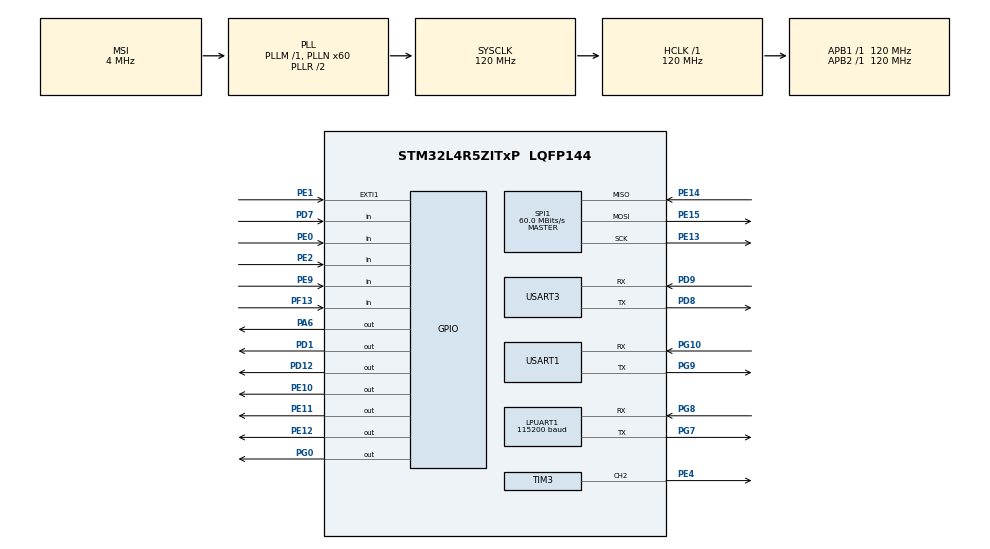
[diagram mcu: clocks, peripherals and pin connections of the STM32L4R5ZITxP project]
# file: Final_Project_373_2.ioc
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Dma.Request0=USART1_RX
Dma.Request1=TIM3_CH2
Dma.TIM3_CH2.1.Direction=DMA_MEMORY_TO_PERIPH
Dma.TIM3_CH2.1.EventEnable=DISABLE
Dma.TIM3_CH2.1.Instance=DMA1_Channel2
Dma.TIM3_CH2.1.MemDataAlignment=DMA_MDATAALIGN_WORD
Dma.TIM3_CH2.1.MemInc=DMA_MINC_ENABLE
Dma.TIM3_CH2.1.Mode=DMA_NORMAL
Dma.TIM3_CH2.1.PeriphDataAlignment=DMA_PDATAALIGN_WORD
Dma.TIM3_CH2.1.PeriphInc=DMA_PINC_DISABLE
Dma.TIM3_CH2.1.Polarity=HAL_DMAMUX_REQUEST_GEN_RISING
Dma.TIM3_CH2.1.Priority=DMA_PRIORITY_VERY_HIGH
Dma.TIM3_CH2.1.RequestNumber=1
Dma.TIM3_CH2.1.SignalID=NONE
Dma.TIM3_CH2.1.SyncEnable=DISABLE
Dma.TIM3_CH2.1.SyncPolarity=HAL_DMAMUX_SYNC_NO_EVENT
Dma.TIM3_CH2.1.SyncRequestNumber=1
Dma.TIM3_CH2.1.SyncSignalID=NONE
Dma.USART1_RX.0.Direction=DMA_PERIPH_TO_MEMORY
Dma.USART1_RX.0.EventEnable=DISABLE
Dma.USART1_RX.0.Instance=DMA1_Channel1
Dma.USART1_RX.0.MemDataAlignment=DMA_MDATAALIGN_BYTE
Dma.USART1_RX.0.MemInc=DMA_MINC_ENABLE
Dma.USART1_RX.0.Mode=DMA_NORMAL
Dma.USART1_RX.0.PeriphDataAlignment=DMA_PDATAALIGN_BYTE
Dma.USART1_RX.0.PeriphInc=DMA_PINC_DISABLE
Dma.USART1_RX.0.Polarity=HAL_DMAMUX_REQUEST_GEN_RISING
Dma.USART1_RX.0.Priority=DMA_PRIORITY_HIGH
Dma.USART1_RX.0.RequestNumber=1
Dma.USART1_RX.0.SignalID=NONE
Dma.USART1_RX.0.SyncEnable=DISABLE
Dma.USART1_RX.0.SyncPolarity=HAL_DMAMUX_SYNC_NO_EVENT
Dma.USART1_RX.0.SyncRequestNumber=1
Dma.USART1_RX.0.SyncSignalID=NONE
LPUART1.BaudRate=115200
LPUART1.WordLength=UART_WORDLENGTH_8B
Mcu.Family=STM32L4
Mcu.Name=STM32L4R5ZITxP
Mcu.Package=LQFP144
NVIC.DMA1_Channel1_IRQn=true\:0\:0\:false\:false\:true\:false\:true\:true
NVIC.DMA1_Channel2_IRQn=true\:0\:0\:false\:false\:true\:false\:true\:true
NVIC.EXTI1_IRQn=true\:0\:0\:false\:false\:true\:true\:true\:true
NVIC.PriorityGroup=NVIC_PRIORITYGROUP_4
NVIC.TIM1_UP_TIM16_IRQn=true\:0\:0\:false\:false\:true\:true\:true\:true
NVIC.TIM2_IRQn=true\:0\:0\:false\:false\:true\:true\:true\:true
NVIC.TIM4_IRQn=true\:0\:0\:false\:false\:true\:true\:true\:true
NVIC.TIM5_IRQn=true\:0\:0\:false\:false\:true\:true\:true\:true
NVIC.TIM8_UP_IRQn=true\:0\:0\:false\:false\:true\:true\:true\:true
NVIC.USART1_IRQn=true\:0\:0\:true\:false\:true\:true\:true\:true
PA0.Signal=S_TIM2_CH1
PA1.Signal=ADCx_IN6
PA10.Signal=USB_OTG_FS_ID
PA13\ (JTMS/SWDIO).Signal=SYS_JTMS-SWDIO
PA14\ (JTCK/SWCLK).Signal=SYS_JTCK-SWCLK
PA3.Signal=ADCx_IN8
PA6.Signal=GPIO_Output
PA8.Signal=USB_OTG_FS_SOF
PA9.Signal=USB_OTG_FS_VBUS
PB1.Signal=ADCx_IN16
PB10.Signal=S_TIM2_CH3
PB12.Signal=SAI2_FS_A
PB13.Signal=SAI2_SCK_A
PB14.Signal=S_TIM15_CH1
PB15.Signal=SAI2_SD_A
PB2.Signal=COMP1_INP
PB3\ (JTDO/TRACESWO).Signal=SPI3_SCK
PB4\ (NJTRST).Signal=SPI3_MISO
PB5.Signal=SPI3_MOSI
PB6.Signal=COMP2_INP
PB8.Signal=I2C1_SCL
PB9.Signal=I2C1_SDA
PC0.Signal=ADCx_IN1
PC1.Signal=ADCx_IN2
PC10.Signal=SDMMC1_D2
PC11.Signal=SDMMC1_D3
PC12.Signal=SDMMC1_CK
PC13.Signal=SYS_WKUP2
PC14-OSC32_IN\ (PC14).Signal=RCC_OSC32_IN
PC15-OSC32_OUT\ (PC15).Signal=RCC_OSC32_OUT
PC2.Signal=ADCx_IN3
PC3.Signal=ADCx_IN4
PC4.Signal=ADCx_IN13
PC5.Signal=ADCx_IN14
PC6.Signal=SAI2_MCLK_A
PC8.Signal=SDMMC1_D0
PC9.Signal=SDMMC1_D1
PD0.Signal=CAN1_RX
PD1.Signal=GPIO_Output
PD12.Signal=GPIO_Output
PD14.Signal=S_TIM4_CH3
PD15.Signal=S_TIM4_CH4
PD2.Signal=SDMMC1_CMD
PD3.Signal=USART2_CTS
PD4.Signal=USART2_RTS
PD5.Signal=USART2_TX
PD6.Signal=USART2_RX
PD7.GPIO_PuPd=GPIO_PULLUP
PD7.Signal=GPIO_Input
PD8.Mode=Asynchronous
PD8.Signal=USART3_TX
PD9.Mode=Asynchronous
PD9.Signal=USART3_RX
PE0.GPIO_PuPd=GPIO_PULLUP
PE0.Signal=GPIO_Input
PE1.GPIO_ModeDefaultEXTI=GPIO_MODE_IT_RISING_FALLING
PE1.GPIO_PuPd=GPIO_PULLUP
PE1.Signal=GPXTI1
PE10.Signal=GPIO_Output
PE11.Signal=GPIO_Output
PE12.Signal=GPIO_Output
PE13.Mode=Full_Duplex_Master
PE13.Signal=SPI1_SCK
PE14.Mode=Full_Duplex_Master
PE14.Signal=SPI1_MISO
PE15.Mode=Full_Duplex_Master
PE15.Signal=SPI1_MOSI
PE2.GPIO_PuPd=GPIO_PULLUP
PE2.Signal=GPIO_Input
PE3.Signal=SAI1_SD_B
PE4.Signal=S_TIM3_CH2
PE7.Signal=S_TIM1_ETR
PE8.Signal=TIM1_CH1N
PE9.GPIO_PuPd=GPIO_PULLUP
PE9.Signal=GPIO_Input
PF0.Signal=I2C2_SDA
PF1.Signal=I2C2_SCL
PF13.GPIO_PuPd=GPIO_PULLUP
PF13.Signal=GPIO_Input
PF2.Signal=I2C2_SMBA
PF7.Signal=SAI1_MCLK_B
PG0.Signal=GPIO_Output
PG10.Mode=Asynchronous
PG10.Signal=USART1_RX
PG7.Mode=Asynchronous
PG7.Signal=LPUART1_TX
PG8.Mode=Asynchronous
PG8.Signal=LPUART1_RX
PG9.Mode=Asynchronous
PG9.Signal=USART1_TX
PH0-OSC_IN\ (PH0).Signal=RCC_OSC_IN
PH1-OSC_OUT\ (PH1).Signal=RCC_OSC_OUT
ProjectManager.HeapSize=0x200
ProjectManager.StackSize=0x400
ProjectManager.TargetToolchain=STM32CubeIDE
RCC.AHBFreq_Value=120000000
RCC.APB1Freq_Value=120000000
RCC.APB1TimFreq_Value=120000000
RCC.APB2Freq_Value=120000000
RCC.APB2TimFreq_Value=120000000
RCC.CortexFreq_Value=120000000
RCC.HCLKFreq_Value=120000000
RCC.HSE_VALUE=8000000
RCC.HSI48_VALUE=48000000
RCC.HSI_VALUE=16000000
RCC.LSE_VALUE=32768
RCC.MSI_VALUE=4000000
RCC.PLLN=60
RCC.SYSCLKFreq_VALUE=120000000
RCC.SYSCLKSource=RCC_SYSCLKSOURCE_PLLCLK
RCC.VCOOutputFreq_Value=240000000
SH.ADCx_IN1.0=ADC1_IN1
SH.ADCx_IN13.0=ADC1_IN13
SH.ADCx_IN14.0=ADC1_IN14
SH.ADCx_IN16.0=ADC1_IN16
SH.ADCx_IN2.0=ADC1_IN2
SH.ADCx_IN3.0=ADC1_IN3
SH.ADCx_IN4.0=ADC1_IN4
SH.ADCx_IN6.0=ADC1_IN6
SH.ADCx_IN8.0=ADC1_IN8
SH.S_TIM15_CH1.0=TIM15_CH1
SH.S_TIM1_ETR.0=TIM1_ETR
SH.S_TIM2_CH1.0=TIM2_CH1
SH.S_TIM2_CH3.0=TIM2_CH3
SH.S_TIM3_CH2.0=TIM3_CH2,PWM Generation2 CH2
SH.S_TIM4_CH3.0=TIM4_CH3
SH.S_TIM4_CH4.0=TIM4_CH4
SPI1.BaudRatePrescaler=SPI_BAUDRATEPRESCALER_2
SPI1.CalculateBaudRate=60.0 MBits/s
SPI1.DataSize=SPI_DATASIZE_8BIT
SPI1.Direction=SPI_DIRECTION_2LINES
SPI1.Mode=SPI_MODE_MASTER
SPI1.VirtualType=VM_MASTER
TIM1.Prescaler=183
TIM2.Period=65535
TIM2.Prescaler=2000
TIM3.Channel-PWM\ Generation2\ CH2=TIM_CHANNEL_2
TIM3.Period=99
TIM3.Prescaler=0
TIM4.Prescaler=2000
TIM5.Period=65000
TIM5.Prescaler=3000
TIM8.Prescaler=800
USART1.VirtualMode-Asynchronous=VM_ASYNC
USART3.VirtualMode-Asynchronous=VM_ASYNC
VP_TIM1_VS_ClockSourceINT.Mode=Internal
VP_TIM2_VS_ClockSourceINT.Mode=Internal
VP_TIM3_VS_ClockSourceINT.Mode=Internal
VP_TIM4_VS_ClockSourceINT.Mode=Internal
VP_TIM5_VS_ClockSourceINT.Mode=Internal
VP_TIM8_VS_ClockSourceINT.Mode=Internal
board=NUCLEO-L4R5ZI-P

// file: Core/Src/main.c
/* USER CODE BEGIN Header */
/**
  ******************************************************************************
  * @file           : main.c
  * @brief          : STM32 + ILI9341 LCD with fast 5-0 countdown
  ******************************************************************************
  */
/* USER CODE END Header */
#include "main.h"

/* USER CODE BEGIN Includes */
#include "led.h"
#include "lidar.h"
#include "stdio.h"
#include "lcd.h"
/* USER CODE END Includes */

/* USER CODE BEGIN PM */
#define MIN(a,b) ((a) < (b) ? (a) : (b))
#define LIDAR_BUFFER_SIZE 2000
/* USER CODE END PM */

UART_HandleTypeDef hlpuart1;
UART_HandleTypeDef huart1;
UART_HandleTypeDef huart3;
DMA_HandleTypeDef hdma_usart1_rx;

SPI_HandleTypeDef hspi1;

TIM_HandleTypeDef htim1;
TIM_HandleTypeDef htim2;
TIM_HandleTypeDef htim3;
TIM_HandleTypeDef htim4;
TIM_HandleTypeDef htim5;
TIM_HandleTypeDef htim8;
DMA_HandleTypeDef hdma_tim3_ch2;

/* USER CODE BEGIN PV */
uint8_t test_buffer[3 * 5] = {0, 1, 2, 3, 4, 5, 6, 7, 8, 9};
uint8_t response [7] = {0};
uint8_t rx_buffer[4 * LIDAR_BUFFER_SIZE] = {0};  // Triple buffer for continuous DMA
uint8_t copy_buffer[5] = {0};  // Triple buffer for continuous DMA
uint8_t count = 0;
//int count = 0;
bool startup = true;
bool clear = false;
volatile uint8_t data_ready_k = 0xFF; // 0xFF = no data ready, 0-2 = which buffer is ready
HAL_StatusTypeDef type = HAL_OK;
bool ready_t = true;
bool retry_conn = true;
bool zone_mode = false;
bool filter_mode = false;
bool led_state = true;
extern bool zone_detected[GRID_DIM*GRID_DIM];
extern uint16_t zone_history[GRID_DIM*GRID_DIM];

bool right_haptic_triggered = false;
bool left_haptic_triggered = false;

/* USER CODE END PV */

void SystemClock_Config(void);
static void MX_GPIO_Init(void);
static void MX_DMA_Init(void);
static void MX_SPI1_Init(void);
static void MX_USART1_UART_Init(void);
static void MX_USART3_UART_Init(void);
static void MX_LPUART1_UART_Init(void);
static void MX_TIM1_Init(void);
static void MX_TIM2_Init(void);
static void MX_TIM3_Init(void);
static void MX_TIM4_Init(void);
static void MX_TIM5_Init(void);
static void MX_TIM8_Init(void);

/* USER CODE BEGIN 0 */

int decoded = 0;
int displayed = 0;

void HAL_UART_RxCpltCallback(UART_HandleTypeDef *huart) {
    static uint8_t k = 0;
    static uint8_t next_k = 1;

    if (huart->Instance == USART1) {
    	if(startup){
    		// First callback is for the 7-byte response, now start 84-byte receptions
    		startup = false;
    		HAL_UART_Receive_DMA(&huart1, rx_buffer + next_k * LIDAR_BUFFER_SIZE, LIDAR_BUFFER_SIZE);
    	}
    	else{
    	  data_ready_k = k;
    	  HAL_UART_Receive_DMA(&huart1, rx_buffer + next_k * LIDAR_BUFFER_SIZE, LIDAR_BUFFER_SIZE);
        }
      // Rotate buffer indices for next iteration
    	k = next_k;
    	next_k = (next_k + 1) % 4;
    	count = 0;
    }
}

void HAL_TIM_PeriodElapsedCallback(TIM_HandleTypeDef *htim){
    if (htim->Instance == TIM1) {
        count++;
        if(count == 30){
            startup = true;
            count = 0;
        }
    }

    if (htim->Instance == TIM2) {
        HAL_GPIO_WritePin(GPIOD, GPIO_PIN_1, GPIO_PIN_RESET);
        HAL_TIM_Base_Stop_IT(&htim2);
        left_haptic_triggered = false;

    }

    if (htim->Instance == TIM4) {
        HAL_GPIO_WritePin(GPIOG, GPIO_PIN_0, GPIO_PIN_RESET);
        HAL_TIM_Base_Stop_IT(&htim4);
        right_haptic_triggered = false;
    }

    if(htim->Instance == TIM5){
    	retry_conn = !retry_conn;
    }

    if(htim->Instance == TIM8){
    	led_state = !led_state;
    }
}

/* USER CODE END 0 */

int main(void)
{

  /* MCU Configuration--------------------------------------------------------*/

  /* Reset of all peripherals, Initializes the Flash interface and the Systick. */
  HAL_Init();

  /* Configure the system clock */
  SystemClock_Config();

  /* Initialize all configured peripherals */
  MX_GPIO_Init();
  MX_DMA_Init();
  MX_SPI1_Init();
  MX_USART1_UART_Init();
  MX_USART3_UART_Init();
  MX_LPUART1_UART_Init();
  MX_TIM1_Init();
  MX_TIM2_Init();
  MX_TIM3_Init();
  MX_TIM4_Init();
  MX_TIM5_Init();
  MX_TIM8_Init();
  /* USER CODE BEGIN 2 */
  HAL_Delay(1000); // Sleep out
  ILI9341_Reset();
  HAL_Delay(1000); // Sleep out
  ClearLED();

  WriteCommand(0x11, &hspi1);
  HAL_Delay(120); // Sleep out

  WriteCommand(0x3A, &hspi1);

  uint8_t pixel_format = 0x55;
  WriteData(&pixel_format, 1, &hspi1);

  WriteCommand(0x29, &hspi1); // Display on
  HAL_Delay(20);

  ILI9341_DisplayFrame(&hspi1);
  HAL_Delay(500);

  send_stop_command(&huart1);
  //__HAL_UART_CLEAR_OREFLAG(&huart1);

  // Small delay for LIDAR to be ready
  HAL_Delay(500);

  while (__HAL_UART_GET_FLAG(&huart1, UART_FLAG_RXNE)) {
      volatile uint8_t dummy = huart1.Instance->RDR;
  }

  __HAL_UART_CLEAR_IT(&huart1,  UART_CLEAR_OREF);

  // Start DMA reception ready for incoming data
  HAL_UART_Receive_DMA(&huart1, rx_buffer, 7);

  HAL_Delay(1000);
  // Send the express scan command
  send_scan_command(&huart1);
  HAL_TIM_Base_Start_IT(&htim1);
  HAL_TIM_Base_Start_IT(&htim5);
  HAL_TIM_Base_Start_IT(&htim8);

  /* USER CODE END 2 */

  /* Infinite loop */
  while (1)
  {

    /* USER CODE BEGIN 3 */

    if (data_ready_k != 0xFF) {
      FillFrame(pingframe, 0x0000);
      uint8_t buffer_to_process = data_ready_k;
      data_ready_k = 0xFF;

      if (new_scan_flag) {
          memset(zone, 0, sizeof(zone));
          new_scan_flag = false;
      }

      // Process the buffer, accounting for potential shifts in decode_normal_scan
      uint8_t* current_packet = rx_buffer + buffer_to_process * LIDAR_BUFFER_SIZE;
      uint8_t* buffer_end = current_packet + LIDAR_BUFFER_SIZE; // End of the buffer

      while (current_packet + 5 <= buffer_end) { // Ensure at least 5 bytes remain
          if (decode_normal_scan(current_packet)) {
              current_packet += 5; // Move to the next packet only if valid
          } else {
              current_packet++; // Skip to the next byte for invalid packets
          }
      }

      for(int i = 0; i < GRID_DIM*GRID_DIM; i++){

        if(zone_detected[i]){
          if(zone_history[i] < 100){
              zone_history[i] += 10;
          }
        }
        else{
          if(zone_history[i] > 0){
              zone_history[i] -= 10;  // use faster decay to clear old detections
          } else {
            zone_history[i] = 0;
          }
        }
      }
      memset(zone_detected, 0, sizeof(zone_detected));

      // TODO, depending on mode call function to add the description to the right mode to display on bottom of display

      decoded++;
      ILI9341_DisplayFrame(&hspi1);
      displayed++;
    }

    if(startup && retry_conn){
      // while (__HAL_UART_GET_FLAG(&huart1, UART_FLAG_RXNE)) {
      //     volatile uint8_t dummy = huart1.Instance->RDR;
      //   }

      // TODO check below
      memset(zone, 0, sizeof(zone));
      memset(zone_history, 0, sizeof(zone_history));
      memset(zone_detected, 0, sizeof(zone_detected));
      __HAL_UART_CLEAR_IT(&huart1,  UART_CLEAR_OREF);
      // Start DMA reception ready for incoming data
      HAL_UART_Receive_DMA(&huart1, rx_buffer, 7);
      send_scan_command(&huart1);
      ILI9341_DisplayFrame(&hspi1);
    }

    // If read low, meaning pushed then start the corresponding mode
    if(HAL_GPIO_ReadPin (GPIOE, GPIO_PIN_9)){
		  zone_mode = false;
	  } else{
		  zone_mode = true;
	  }

    if(HAL_GPIO_ReadPin (GPIOF, GPIO_PIN_13)){
    	filter_mode = false;
    } else{
    	filter_mode = true;
    }
    // NOTE, THE GRIDS ARE FLIPPED ON THE Y AXIS COMPARED TO THE SCREEN, WE SHOULD DO FLIPPED ORIENTATION BELOW
    // Left

    if(!HAL_GPIO_ReadPin (GPIOE, GPIO_PIN_2)){
      //HAL_GPIO_WritePin(GPIOA, GPIO_PIN_6, GPIO_PIN_SET);
    	if(led_state){
    		WS2812_SetLED(12, 255, 0, 0); // Red
			WS2812_SetLED(13, 255, 0, 0);   // OFF
			WS2812_SetLED(14, 255, 0, 0);   // OFF
			WS2812_Send();
    	} else{
    		WS2812_SetLED(12, 0, 0, 0); // Red
    		WS2812_SetLED(13, 0, 0, 0);   // OFF
    		WS2812_SetLED(14, 0, 0, 0);   // OFF
    		WS2812_Send();
    	}
       // Haptics
       if(!left_haptic_triggered){

//   	   HAL_GPIO_WritePin(GPIOD, GPIO_PIN_1, GPIO_PIN_SET);
//   	   left_haptic_triggered = true;
//   	   HAL_TIM_Base_Start_IT(&htim2);

         bool triggered = false;
         for(int i = GRID_DIM/4; i < 3*GRID_DIM/4; i++){
         	for(int j = GRID_DIM/2; j < 3*GRID_DIM/4; j++){
 			   if(zone_history[i * GRID_DIM +  j] > 0)
 				 {
 				  HAL_GPIO_WritePin(GPIOD, GPIO_PIN_1, GPIO_PIN_SET);
 //				  HAL_GPIO_WritePin(GPIOG, GPIO_PIN_0, GPIO_PIN_SET);
 				  left_haptic_triggered = true;
 				  HAL_TIM_Base_Start_IT(&htim2);
 //				  HAL_TIM_Base_Start_IT(&htim4);
 				  triggered = true;
 				  break;
 				 }
             }
         	if (triggered){
         		break;
         	}
           }
        }
      //}
    } else{
    	WS2812_SetLED(12, 0, 0, 0); // Red
    	WS2812_SetLED(13, 0, 0, 0);   // OFF
    	WS2812_SetLED(14, 0, 0, 0);   // OFF
    	WS2812_Send();
    }
    // Right
    if(!HAL_GPIO_ReadPin (GPIOD, GPIO_PIN_7)){
    	if(led_state){
			WS2812_SetLED(15, 255, 0, 0); // Red
			WS2812_SetLED(16, 255, 0, 0);   // OFF
			WS2812_SetLED(17, 255, 0, 0);   // OFF
			WS2812_Send();
    	} else{
    		WS2812_SetLED(15, 0, 0, 0); // Red
			WS2812_SetLED(16, 0, 0, 0);   // OFF
			WS2812_SetLED(17, 0, 0, 0);   // OFF
			WS2812_Send();
    	}
      // Haptics

       if(!right_haptic_triggered){

//    	   HAL_GPIO_WritePin(GPIOG, GPIO_PIN_0, GPIO_PIN_SET);
//         right_haptic_triggered = true;
//         HAL_TIM_Base_Start_IT(&htim4);

    	   bool triggered = false;
    	   for(int i = GRID_DIM/4; i < 3*GRID_DIM/4; i++){
    	           	for(int j = GRID_DIM/4; j < GRID_DIM/2; j++){
    	   			   if(zone_history[i * GRID_DIM + j] > 0)
    	   				 {
    	   				  HAL_GPIO_WritePin(GPIOG, GPIO_PIN_0, GPIO_PIN_SET);
    	   				  right_haptic_triggered = true;
    	   				  HAL_TIM_Base_Start_IT(&htim4);
    	   				  triggered = true;
    	   				  break;
    	   				 }
    	               }
    	           	if (triggered){
    	           		break;
    	           	}
    	         //    }
    	   	 }
        }

    } else{
    	WS2812_SetLED(15, 0, 0, 0); // Red
    	WS2812_SetLED(16, 0, 0, 0);   // OFF
    	WS2812_SetLED(17, 0, 0, 0);   // OFF
    	WS2812_Send();
    }
  }
  /* USER CODE END 3 */
}

void SystemClock_Config(void)
{
  RCC_OscInitTypeDef RCC_OscInitStruct = {0};
  RCC_ClkInitTypeDef RCC_ClkInitStruct = {0};

  /** Configure the main internal regulator output voltage
  */
  if (HAL_PWREx_ControlVoltageScaling(PWR_REGULATOR_VOLTAGE_SCALE1_BOOST) != HAL_OK)
  {
    Error_Handler();
  }

  /** Initializes the RCC Oscillators according to the specified parameters
  * in the RCC_OscInitTypeDef structure.
  */
  RCC_OscInitStruct.OscillatorType = RCC_OSCILLATORTYPE_MSI;
  RCC_OscInitStruct.MSIState = RCC_MSI_ON;
  RCC_OscInitStruct.MSICalibrationValue = 0;
  RCC_OscInitStruct.MSIClockRange = RCC_MSIRANGE_6;
  RCC_OscInitStruct.PLL.PLLState = RCC_PLL_ON;
  RCC_OscInitStruct.PLL.PLLSource = RCC_PLLSOURCE_MSI;
  RCC_OscInitStruct.PLL.PLLM = 1;
  RCC_OscInitStruct.PLL.PLLN = 60;
  RCC_OscInitStruct.PLL.PLLP = RCC_PLLP_DIV2;
  RCC_OscInitStruct.PLL.PLLQ = RCC_PLLQ_DIV2;
  RCC_OscInitStruct.PLL.PLLR = RCC_PLLR_DIV2;
  if (HAL_RCC_OscConfig(&RCC_OscInitStruct) != HAL_OK)
  {
    Error_Handler();
  }

  /** Initializes the CPU, AHB and APB buses clocks
  */
  RCC_ClkInitStruct.ClockType = RCC_CLOCKTYPE_HCLK|RCC_CLOCKTYPE_SYSCLK
                              |RCC_CLOCKTYPE_PCLK1|RCC_CLOCKTYPE_PCLK2;
  RCC_ClkInitStruct.SYSCLKSource = RCC_SYSCLKSOURCE_PLLCLK;
  RCC_ClkInitStruct.AHBCLKDivider = RCC_SYSCLK_DIV1;
  RCC_ClkInitStruct.APB1CLKDivider = RCC_HCLK_DIV1;
  RCC_ClkInitStruct.APB2CLKDivider = RCC_HCLK_DIV1;

  if (HAL_RCC_ClockConfig(&RCC_ClkInitStruct, FLASH_LATENCY_5) != HAL_OK)
  {
    Error_Handler();
  }
}

static void MX_LPUART1_UART_Init(void)
{

  hlpuart1.Instance = LPUART1;
  hlpuart1.Init.BaudRate = 115200;
  hlpuart1.Init.WordLength = UART_WORDLENGTH_8B;
  hlpuart1.Init.StopBits = UART_STOPBITS_1;
  hlpuart1.Init.Parity = UART_PARITY_NONE;
  hlpuart1.Init.Mode = UART_MODE_TX_RX;
  hlpuart1.Init.HwFlowCtl = UART_HWCONTROL_NONE;
  hlpuart1.Init.OneBitSampling = UART_ONE_BIT_SAMPLE_DISABLE;
  hlpuart1.Init.ClockPrescaler = UART_PRESCALER_DIV1;
  hlpuart1.AdvancedInit.AdvFeatureInit = UART_ADVFEATURE_NO_INIT;
  hlpuart1.FifoMode = UART_FIFOMODE_DISABLE;
  if (HAL_UART_Init(&hlpuart1) != HAL_OK)
  {
    Error_Handler();
  }
  if (HAL_UARTEx_SetTxFifoThreshold(&hlpuart1, UART_TXFIFO_THRESHOLD_1_8) != HAL_OK)
  {
    Error_Handler();
  }
  if (HAL_UARTEx_SetRxFifoThreshold(&hlpuart1, UART_RXFIFO_THRESHOLD_1_8) != HAL_OK)
  {
    Error_Handler();
  }
  if (HAL_UARTEx_DisableFifoMode(&hlpuart1) != HAL_OK)
  {
    Error_Handler();
  }

}

static void MX_USART1_UART_Init(void)
{

  huart1.Instance = USART1;
  huart1.Init.BaudRate = 115200;
  huart1.Init.WordLength = UART_WORDLENGTH_8B;
  huart1.Init.StopBits = UART_STOPBITS_1;
  huart1.Init.Parity = UART_PARITY_NONE;
  huart1.Init.Mode = UART_MODE_TX_RX;
  huart1.Init.HwFlowCtl = UART_HWCONTROL_NONE;
  huart1.Init.OverSampling = UART_OVERSAMPLING_16;
  huart1.Init.OneBitSampling = UART_ONE_BIT_SAMPLE_DISABLE;
  huart1.Init.ClockPrescaler = UART_PRESCALER_DIV1;
  huart1.AdvancedInit.AdvFeatureInit = UART_ADVFEATURE_NO_INIT;
  if (HAL_UART_Init(&huart1) != HAL_OK)
  {
    Error_Handler();
  }
  if (HAL_UARTEx_SetTxFifoThreshold(&huart1, UART_TXFIFO_THRESHOLD_1_8) != HAL_OK)
  {
    Error_Handler();
  }
  if (HAL_UARTEx_SetRxFifoThreshold(&huart1, UART_RXFIFO_THRESHOLD_1_8) != HAL_OK)
  {
    Error_Handler();
  }
  if (HAL_UARTEx_DisableFifoMode(&huart1) != HAL_OK)
  {
    Error_Handler();
  }

}

static void MX_USART3_UART_Init(void)
{

  huart3.Instance = USART3;
  huart3.Init.BaudRate = 115200;
  huart3.Init.WordLength = UART_WORDLENGTH_8B;
  huart3.Init.StopBits = UART_STOPBITS_1;
  huart3.Init.Parity = UART_PARITY_NONE;
  huart3.Init.Mode = UART_MODE_TX_RX;
  huart3.Init.HwFlowCtl = UART_HWCONTROL_NONE;
  huart3.Init.OverSampling = UART_OVERSAMPLING_16;
  huart3.Init.OneBitSampling = UART_ONE_BIT_SAMPLE_DISABLE;
  huart3.Init.ClockPrescaler = UART_PRESCALER_DIV1;
  huart3.AdvancedInit.AdvFeatureInit = UART_ADVFEATURE_NO_INIT;
  if (HAL_UART_Init(&huart3) != HAL_OK)
  {
    Error_Handler();
  }
  if (HAL_UARTEx_SetTxFifoThreshold(&huart3, UART_TXFIFO_THRESHOLD_1_8) != HAL_OK)
  {
    Error_Handler();
  }
  if (HAL_UARTEx_SetRxFifoThreshold(&huart3, UART_RXFIFO_THRESHOLD_1_8) != HAL_OK)
  {
    Error_Handler();
  }
  if (HAL_UARTEx_DisableFifoMode(&huart3) != HAL_OK)
  {
    Error_Handler();
  }

}

static void MX_SPI1_Init(void)
{

  /* SPI1 parameter configuration*/
  hspi1.Instance = SPI1;
  hspi1.Init.Mode = SPI_MODE_MASTER;
  hspi1.Init.Direction = SPI_DIRECTION_2LINES;
  hspi1.Init.DataSize = SPI_DATASIZE_8BIT;
  hspi1.Init.CLKPolarity = SPI_POLARITY_LOW;
  hspi1.Init.CLKPhase = SPI_PHASE_1EDGE;
  hspi1.Init.NSS = SPI_NSS_SOFT;
  hspi1.Init.BaudRatePrescaler = SPI_BAUDRATEPRESCALER_2;
  hspi1.Init.FirstBit = SPI_FIRSTBIT_MSB;
  hspi1.Init.TIMode = SPI_TIMODE_DISABLE;
  hspi1.Init.CRCCalculation = SPI_CRCCALCULATION_DISABLE;
  hspi1.Init.CRCPolynomial = 7;
  hspi1.Init.CRCLength = SPI_CRC_LENGTH_DATASIZE;
  hspi1.Init.NSSPMode = SPI_NSS_PULSE_ENABLE;
  if (HAL_SPI_Init(&hspi1) != HAL_OK)
  {
    Error_Handler();
  }

}

static void MX_TIM1_Init(void)
{

  TIM_ClockConfigTypeDef sClockSourceConfig = {0};
  TIM_MasterConfigTypeDef sMasterConfig = {0};

  htim1.Instance = TIM1;
  htim1.Init.Prescaler = 183;
  htim1.Init.CounterMode = TIM_COUNTERMODE_UP;
  htim1.Init.Period = 65535;
  htim1.Init.ClockDivision = TIM_CLOCKDIVISION_DIV1;
  htim1.Init.RepetitionCounter = 0;
  htim1.Init.AutoReloadPreload = TIM_AUTORELOAD_PRELOAD_DISABLE;
  if (HAL_TIM_Base_Init(&htim1) != HAL_OK)
  {
    Error_Handler();
  }
  sClockSourceConfig.ClockSource = TIM_CLOCKSOURCE_INTERNAL;
  if (HAL_TIM_ConfigClockSource(&htim1, &sClockSourceConfig) != HAL_OK)
  {
    Error_Handler();
  }
  sMasterConfig.MasterOutputTrigger = TIM_TRGO_RESET;
  sMasterConfig.MasterOutputTrigger2 = TIM_TRGO2_RESET;
  sMasterConfig.MasterSlaveMode = TIM_MASTERSLAVEMODE_DISABLE;
  if (HAL_TIMEx_MasterConfigSynchronization(&htim1, &sMasterConfig) != HAL_OK)
  {
    Error_Handler();
  }

}

static void MX_TIM2_Init(void)
{

  TIM_ClockConfigTypeDef sClockSourceConfig = {0};
  TIM_MasterConfigTypeDef sMasterConfig = {0};

  htim2.Instance = TIM2;
  htim2.Init.Prescaler = 2000;
  htim2.Init.CounterMode = TIM_COUNTERMODE_UP;
  htim2.Init.Period = 65535;
  htim2.Init.ClockDivision = TIM_CLOCKDIVISION_DIV1;
  htim2.Init.AutoReloadPreload = TIM_AUTORELOAD_PRELOAD_DISABLE;
  if (HAL_TIM_Base_Init(&htim2) != HAL_OK)
  {
    Error_Handler();
  }
  sClockSourceConfig.ClockSource = TIM_CLOCKSOURCE_INTERNAL;
  if (HAL_TIM_ConfigClockSource(&htim2, &sClockSourceConfig) != HAL_OK)
  {
    Error_Handler();
  }
  sMasterConfig.MasterOutputTrigger = TIM_TRGO_RESET;
  sMasterConfig.MasterSlaveMode = TIM_MASTERSLAVEMODE_DISABLE;
  if (HAL_TIMEx_MasterConfigSynchronization(&htim2, &sMasterConfig) != HAL_OK)
  {
    Error_Handler();
  }

}

static void MX_TIM3_Init(void)
{

  TIM_ClockConfigTypeDef sClockSourceConfig = {0};
  TIM_MasterConfigTypeDef sMasterConfig = {0};
  TIM_OC_InitTypeDef sConfigOC = {0};

  htim3.Instance = TIM3;
  htim3.Init.Prescaler = 0;
  htim3.Init.CounterMode = TIM_COUNTERMODE_UP;
  htim3.Init.Period = 99;
  htim3.Init.ClockDivision = TIM_CLOCKDIVISION_DIV1;
  htim3.Init.AutoReloadPreload = TIM_AUTORELOAD_PRELOAD_DISABLE;
  if (HAL_TIM_Base_Init(&htim3) != HAL_OK)
  {
    Error_Handler();
  }
  sClockSourceConfig.ClockSource = TIM_CLOCKSOURCE_INTERNAL;
  if (HAL_TIM_ConfigClockSource(&htim3, &sClockSourceConfig) != HAL_OK)
  {
    Error_Handler();
  }
  if (HAL_TIM_PWM_Init(&htim3) != HAL_OK)
  {
    Error_Handler();
  }
  sMasterConfig.MasterOutputTrigger = TIM_TRGO_RESET;
  sMasterConfig.MasterSlaveMode = TIM_MASTERSLAVEMODE_DISABLE;
  if (HAL_TIMEx_MasterConfigSynchronization(&htim3, &sMasterConfig) != HAL_OK)
  {
    Error_Handler();
  }
  sConfigOC.OCMode = TIM_OCMODE_PWM1;
  sConfigOC.Pulse = 0;
  sConfigOC.OCPolarity = TIM_OCPOLARITY_HIGH;
  sConfigOC.OCFastMode = TIM_OCFAST_DISABLE;
  if (HAL_TIM_PWM_ConfigChannel(&htim3, &sConfigOC, TIM_CHANNEL_2) != HAL_OK)
  {
    Error_Handler();
  }
  HAL_TIM_MspPostInit(&htim3);

}

static void MX_TIM4_Init(void)
{

  TIM_ClockConfigTypeDef sClockSourceConfig = {0};
  TIM_MasterConfigTypeDef sMasterConfig = {0};

  htim4.Instance = TIM4;
  htim4.Init.Prescaler = 2000;
  htim4.Init.CounterMode = TIM_COUNTERMODE_UP;
  htim4.Init.Period = 65535;
  htim4.Init.ClockDivision = TIM_CLOCKDIVISION_DIV1;
  htim4.Init.AutoReloadPreload = TIM_AUTORELOAD_PRELOAD_DISABLE;
  if (HAL_TIM_Base_Init(&htim4) != HAL_OK)
  {
    Error_Handler();
  }
  sClockSourceConfig.ClockSource = TIM_CLOCKSOURCE_INTERNAL;
  if (HAL_TIM_ConfigClockSource(&htim4, &sClockSourceConfig) != HAL_OK)
  {
    Error_Handler();
  }
  sMasterConfig.MasterOutputTrigger = TIM_TRGO_RESET;
  sMasterConfig.MasterSlaveMode = TIM_MASTERSLAVEMODE_DISABLE;
  if (HAL_TIMEx_MasterConfigSynchronization(&htim4, &sMasterConfig) != HAL_OK)
  {
    Error_Handler();
  }

}

static void MX_TIM5_Init(void)
{

  TIM_ClockConfigTypeDef sClockSourceConfig = {0};
  TIM_MasterConfigTypeDef sMasterConfig = {0};

  htim5.Instance = TIM5;
  htim5.Init.Prescaler = 3000;
  htim5.Init.CounterMode = TIM_COUNTERMODE_UP;
  htim5.Init.Period = 65000;
  htim5.Init.ClockDivision = TIM_CLOCKDIVISION_DIV1;
  htim5.Init.AutoReloadPreload = TIM_AUTORELOAD_PRELOAD_DISABLE;
  if (HAL_TIM_Base_Init(&htim5) != HAL_OK)
  {
    Error_Handler();
  }
  sClockSourceConfig.ClockSource = TIM_CLOCKSOURCE_INTERNAL;
  if (HAL_TIM_ConfigClockSource(&htim5, &sClockSourceConfig) != HAL_OK)
  {
    Error_Handler();
  }
  sMasterConfig.MasterOutputTrigger = TIM_TRGO_RESET;
  sMasterConfig.MasterSlaveMode = TIM_MASTERSLAVEMODE_DISABLE;
  if (HAL_TIMEx_MasterConfigSynchronization(&htim5, &sMasterConfig) != HAL_OK)
  {
    Error_Handler();
  }

}

static void MX_TIM8_Init(void)
{

  TIM_ClockConfigTypeDef sClockSourceConfig = {0};
  TIM_MasterConfigTypeDef sMasterConfig = {0};

  htim8.Instance = TIM8;
  htim8.Init.Prescaler = 800;
  htim8.Init.CounterMode = TIM_COUNTERMODE_UP;
  htim8.Init.Period = 65535;
  htim8.Init.ClockDivision = TIM_CLOCKDIVISION_DIV1;
  htim8.Init.RepetitionCounter = 0;
  htim8.Init.AutoReloadPreload = TIM_AUTORELOAD_PRELOAD_DISABLE;
  if (HAL_TIM_Base_Init(&htim8) != HAL_OK)
  {
    Error_Handler();
  }
  sClockSourceConfig.ClockSource = TIM_CLOCKSOURCE_INTERNAL;
  if (HAL_TIM_ConfigClockSource(&htim8, &sClockSourceConfig) != HAL_OK)
  {
    Error_Handler();
  }
  sMasterConfig.MasterOutputTrigger = TIM_TRGO_RESET;
  sMasterConfig.MasterOutputTrigger2 = TIM_TRGO2_RESET;
  sMasterConfig.MasterSlaveMode = TIM_MASTERSLAVEMODE_DISABLE;
  if (HAL_TIMEx_MasterConfigSynchronization(&htim8, &sMasterConfig) != HAL_OK)
  {
    Error_Handler();
  }

}

static void MX_DMA_Init(void)
{

  /* DMA controller clock enable */
  __HAL_RCC_DMAMUX1_CLK_ENABLE();
  __HAL_RCC_DMA1_CLK_ENABLE();

  /* DMA interrupt init */
  /* DMA1_Channel1_IRQn interrupt configuration */
  HAL_NVIC_SetPriority(DMA1_Channel1_IRQn, 0, 0);
  HAL_NVIC_EnableIRQ(DMA1_Channel1_IRQn);
  /* DMA1_Channel2_IRQn interrupt configuration */
  HAL_NVIC_SetPriority(DMA1_Channel2_IRQn, 0, 0);
  HAL_NVIC_EnableIRQ(DMA1_Channel2_IRQn);

}

static void MX_GPIO_Init(void)
{
  GPIO_InitTypeDef GPIO_InitStruct = {0};

  /* GPIO Ports Clock Enable */
  __HAL_RCC_GPIOE_CLK_ENABLE();
  __HAL_RCC_GPIOC_CLK_ENABLE();
  __HAL_RCC_GPIOF_CLK_ENABLE();
  __HAL_RCC_GPIOH_CLK_ENABLE();
  __HAL_RCC_GPIOA_CLK_ENABLE();
  __HAL_RCC_GPIOB_CLK_ENABLE();
  __HAL_RCC_GPIOG_CLK_ENABLE();
  __HAL_RCC_GPIOD_CLK_ENABLE();
  HAL_PWREx_EnableVddIO2();

  /*Configure GPIO pin Output Level */
  HAL_GPIO_WritePin(GPIOA, GPIO_PIN_6, GPIO_PIN_RESET);

  /*Configure GPIO pin Output Level */
  HAL_GPIO_WritePin(GPIOG, GPIO_PIN_0, GPIO_PIN_RESET);

  /*Configure GPIO pin Output Level */
  HAL_GPIO_WritePin(GPIOE, GPIO_PIN_10|GPIO_PIN_11|GPIO_PIN_12, GPIO_PIN_RESET);

  /*Configure GPIO pin Output Level */
  HAL_GPIO_WritePin(GPIOD, GPIO_PIN_12|GPIO_PIN_1, GPIO_PIN_RESET);

  /*Configure GPIO pins : PE2 PE9 PE0 */
  GPIO_InitStruct.Pin = GPIO_PIN_2|GPIO_PIN_9|GPIO_PIN_0;
  GPIO_InitStruct.Mode = GPIO_MODE_INPUT;
  GPIO_InitStruct.Pull = GPIO_PULLUP;
  HAL_GPIO_Init(GPIOE, &GPIO_InitStruct);

  /*Configure GPIO pin : PE3 */
  GPIO_InitStruct.Pin = GPIO_PIN_3;
  GPIO_InitStruct.Mode = GPIO_MODE_AF_PP;
  GPIO_InitStruct.Pull = GPIO_NOPULL;
  GPIO_InitStruct.Speed = GPIO_SPEED_FREQ_LOW;
  GPIO_InitStruct.Alternate = GPIO_AF13_SAI1;
  HAL_GPIO_Init(GPIOE, &GPIO_InitStruct);

  /*Configure GPIO pins : PF0 PF1 PF2 */
  GPIO_InitStruct.Pin = GPIO_PIN_0|GPIO_PIN_1|GPIO_PIN_2;
  GPIO_InitStruct.Mode = GPIO_MODE_AF_OD;
  GPIO_InitStruct.Pull = GPIO_NOPULL;
  GPIO_InitStruct.Speed = GPIO_SPEED_FREQ_VERY_HIGH;
  GPIO_InitStruct.Alternate = GPIO_AF4_I2C2;
  HAL_GPIO_Init(GPIOF, &GPIO_InitStruct);

  /*Configure GPIO pin : PF7 */
  GPIO_InitStruct.Pin = GPIO_PIN_7;
  GPIO_InitStruct.Mode = GPIO_MODE_AF_PP;
  GPIO_InitStruct.Pull = GPIO_NOPULL;
  GPIO_InitStruct.Speed = GPIO_SPEED_FREQ_LOW;
  GPIO_InitStruct.Alternate = GPIO_AF13_SAI1;
  HAL_GPIO_Init(GPIOF, &GPIO_InitStruct);

  /*Configure GPIO pins : PC0 PC1 PC2 PC3
                           PC4 PC5 */
  GPIO_InitStruct.Pin = GPIO_PIN_0|GPIO_PIN_1|GPIO_PIN_2|GPIO_PIN_3
                          |GPIO_PIN_4|GPIO_PIN_5;
  GPIO_InitStruct.Mode = GPIO_MODE_ANALOG_ADC_CONTROL;
  GPIO_InitStruct.Pull = GPIO_NOPULL;
  HAL_GPIO_Init(GPIOC, &GPIO_InitStruct);

  /*Configure GPIO pins : PA1 PA3 */
  GPIO_InitStruct.Pin = GPIO_PIN_1|GPIO_PIN_3;
  GPIO_InitStruct.Mode = GPIO_MODE_ANALOG_ADC_CONTROL;
  GPIO_InitStruct.Pull = GPIO_NOPULL;
  HAL_GPIO_Init(GPIOA, &GPIO_InitStruct);

  /*Configure GPIO pin : PA6 */
  GPIO_InitStruct.Pin = GPIO_PIN_6;
  GPIO_InitStruct.Mode = GPIO_MODE_OUTPUT_PP;
  GPIO_InitStruct.Pull = GPIO_NOPULL;
  GPIO_InitStruct.Speed = GPIO_SPEED_FREQ_LOW;
  HAL_GPIO_Init(GPIOA, &GPIO_InitStruct);

  /*Configure GPIO pin : PB1 */
  GPIO_InitStruct.Pin = GPIO_PIN_1;
  GPIO_InitStruct.Mode = GPIO_MODE_ANALOG_ADC_CONTROL;
  GPIO_InitStruct.Pull = GPIO_NOPULL;
  HAL_GPIO_Init(GPIOB, &GPIO_InitStruct);

  /*Configure GPIO pins : PB2 PB6 */
  GPIO_InitStruct.Pin = GPIO_PIN_2|GPIO_PIN_6;
  GPIO_InitStruct.Mode = GPIO_MODE_ANALOG;
  GPIO_InitStruct.Pull = GPIO_NOPULL;
  HAL_GPIO_Init(GPIOB, &GPIO_InitStruct);

  /*Configure GPIO pin : PF13 */
  GPIO_InitStruct.Pin = GPIO_PIN_13;
  GPIO_InitStruct.Mode = GPIO_MODE_INPUT;
  GPIO_InitStruct.Pull = GPIO_PULLUP;
  HAL_GPIO_Init(GPIOF, &GPIO_InitStruct);

  /*Configure GPIO pin : PG0 */
  GPIO_InitStruct.Pin = GPIO_PIN_0;
  GPIO_InitStruct.Mode = GPIO_MODE_OUTPUT_PP;
  GPIO_InitStruct.Pull = GPIO_NOPULL;
  GPIO_InitStruct.Speed = GPIO_SPEED_FREQ_LOW;
  HAL_GPIO_Init(GPIOG, &GPIO_InitStruct);

  /*Configure GPIO pins : PE10 PE11 PE12 */
  GPIO_InitStruct.Pin = GPIO_PIN_10|GPIO_PIN_11|GPIO_PIN_12;
  GPIO_InitStruct.Mode = GPIO_MODE_OUTPUT_PP;
  GPIO_InitStruct.Pull = GPIO_NOPULL;
  GPIO_InitStruct.Speed = GPIO_SPEED_FREQ_LOW;
  HAL_GPIO_Init(GPIOE, &GPIO_InitStruct);

  /*Configure GPIO pins : PB12 PB13 PB15 */
  GPIO_InitStruct.Pin = GPIO_PIN_12|GPIO_PIN_13|GPIO_PIN_15;
  GPIO_InitStruct.Mode = GPIO_MODE_AF_PP;
  GPIO_InitStruct.Pull = GPIO_NOPULL;
  GPIO_InitStruct.Speed = GPIO_SPEED_FREQ_LOW;
  GPIO_InitStruct.Alternate = GPIO_AF13_SAI2;
  HAL_GPIO_Init(GPIOB, &GPIO_InitStruct);

  /*Configure GPIO pin : PB14 */
  GPIO_InitStruct.Pin = GPIO_PIN_14;
  GPIO_InitStruct.Mode = GPIO_MODE_AF_PP;
  GPIO_InitStruct.Pull = GPIO_NOPULL;
  GPIO_InitStruct.Speed = GPIO_SPEED_FREQ_LOW;
  GPIO_InitStruct.Alternate = GPIO_AF14_TIM15;
  HAL_GPIO_Init(GPIOB, &GPIO_InitStruct);

  /*Configure GPIO pins : PD12 PD1 */
  GPIO_InitStruct.Pin = GPIO_PIN_12|GPIO_PIN_1;
  GPIO_InitStruct.Mode = GPIO_MODE_OUTPUT_PP;
  GPIO_InitStruct.Pull = GPIO_NOPULL;
  GPIO_InitStruct.Speed = GPIO_SPEED_FREQ_LOW;
  HAL_GPIO_Init(GPIOD, &GPIO_InitStruct);

  /*Configure GPIO pin : PC6 */
  GPIO_InitStruct.Pin = GPIO_PIN_6;
  GPIO_InitStruct.Mode = GPIO_MODE_AF_PP;
  GPIO_InitStruct.Pull = GPIO_NOPULL;
  GPIO_InitStruct.Speed = GPIO_SPEED_FREQ_LOW;
  GPIO_InitStruct.Alternate = GPIO_AF13_SAI2;
  HAL_GPIO_Init(GPIOC, &GPIO_InitStruct);

  /*Configure GPIO pins : PC8 PC9 PC10 PC11
                           PC12 */
  GPIO_InitStruct.Pin = GPIO_PIN_8|GPIO_PIN_9|GPIO_PIN_10|GPIO_PIN_11
                          |GPIO_PIN_12;
  GPIO_InitStruct.Mode = GPIO_MODE_AF_PP;
  GPIO_InitStruct.Pull = GPIO_NOPULL;
  GPIO_InitStruct.Speed = GPIO_SPEED_FREQ_VERY_HIGH;
  GPIO_InitStruct.Alternate = GPIO_AF12_SDMMC1;
  HAL_GPIO_Init(GPIOC, &GPIO_InitStruct);

  /*Configure GPIO pins : PA8 PA10 */
  GPIO_InitStruct.Pin = GPIO_PIN_8|GPIO_PIN_10;
  GPIO_InitStruct.Mode = GPIO_MODE_AF_PP;
  GPIO_InitStruct.Pull = GPIO_NOPULL;
  GPIO_InitStruct.Speed = GPIO_SPEED_FREQ_VERY_HIGH;
  GPIO_InitStruct.Alternate = GPIO_AF10_OTG_FS;
  HAL_GPIO_Init(GPIOA, &GPIO_InitStruct);

  /*Configure GPIO pin : PA9 */
  GPIO_InitStruct.Pin = GPIO_PIN_9;
  GPIO_InitStruct.Mode = GPIO_MODE_INPUT;
  GPIO_InitStruct.Pull = GPIO_NOPULL;
  HAL_GPIO_Init(GPIOA, &GPIO_InitStruct);

  /*Configure GPIO pin : PD0 */
  GPIO_InitStruct.Pin = GPIO_PIN_0;
  GPIO_InitStruct.Mode = GPIO_MODE_AF_PP;
  GPIO_InitStruct.Pull = GPIO_NOPULL;
  GPIO_InitStruct.Speed = GPIO_SPEED_FREQ_VERY_HIGH;
  GPIO_InitStruct.Alternate = GPIO_AF9_CAN1;
  HAL_GPIO_Init(GPIOD, &GPIO_InitStruct);

  /*Configure GPIO pin : PD2 */
  GPIO_InitStruct.Pin = GPIO_PIN_2;
  GPIO_InitStruct.Mode = GPIO_MODE_AF_PP;
  GPIO_InitStruct.Pull = GPIO_NOPULL;
  GPIO_InitStruct.Speed = GPIO_SPEED_FREQ_VERY_HIGH;
  GPIO_InitStruct.Alternate = GPIO_AF12_SDMMC1;
  HAL_GPIO_Init(GPIOD, &GPIO_InitStruct);

  /*Configure GPIO pins : PD3 PD4 PD5 PD6 */
  GPIO_InitStruct.Pin = GPIO_PIN_3|GPIO_PIN_4|GPIO_PIN_5|GPIO_PIN_6;
  GPIO_InitStruct.Mode = GPIO_MODE_AF_PP;
  GPIO_InitStruct.Pull = GPIO_NOPULL;
  GPIO_InitStruct.Speed = GPIO_SPEED_FREQ_VERY_HIGH;
  GPIO_InitStruct.Alternate = GPIO_AF7_USART2;
  HAL_GPIO_Init(GPIOD, &GPIO_InitStruct);

  /*Configure GPIO pin : PD7 */
  GPIO_InitStruct.Pin = GPIO_PIN_7;
  GPIO_InitStruct.Mode = GPIO_MODE_INPUT;
  GPIO_InitStruct.Pull = GPIO_PULLUP;
  HAL_GPIO_Init(GPIOD, &GPIO_InitStruct);

  /*Configure GPIO pins : PB3 PB4 PB5 */
  GPIO_InitStruct.Pin = GPIO_PIN_3|GPIO_PIN_4|GPIO_PIN_5;
  GPIO_InitStruct.Mode = GPIO_MODE_AF_PP;
  GPIO_InitStruct.Pull = GPIO_NOPULL;
  GPIO_InitStruct.Speed = GPIO_SPEED_FREQ_VERY_HIGH;
  GPIO_InitStruct.Alternate = GPIO_AF6_SPI3;
  HAL_GPIO_Init(GPIOB, &GPIO_InitStruct);

  /*Configure GPIO pins : PB8 PB9 */
  GPIO_InitStruct.Pin = GPIO_PIN_8|GPIO_PIN_9;
  GPIO_InitStruct.Mode = GPIO_MODE_AF_OD;
  GPIO_InitStruct.Pull = GPIO_NOPULL;
  GPIO_InitStruct.Speed = GPIO_SPEED_FREQ_VERY_HIGH;
  GPIO_InitStruct.Alternate = GPIO_AF4_I2C1;
  HAL_GPIO_Init(GPIOB, &GPIO_InitStruct);

  /*Configure GPIO pin : PE1 */
  GPIO_InitStruct.Pin = GPIO_PIN_1;
  GPIO_InitStruct.Mode = GPIO_MODE_IT_RISING_FALLING;
  GPIO_InitStruct.Pull = GPIO_PULLUP;
  HAL_GPIO_Init(GPIOE, &GPIO_InitStruct);

  /* EXTI interrupt init*/
  HAL_NVIC_SetPriority(EXTI1_IRQn, 0, 0);
  HAL_NVIC_EnableIRQ(EXTI1_IRQn);

}

/* USER CODE BEGIN 4 */
#ifdef __GNUC__
#define PUTCHAR_PROTOTYPE int __io_putchar(int ch)
#else
#define PUTCHAR_PROTOTYPE int fputc(int ch, FILE *f)
#endif /* __GNUC__ */
PUTCHAR_PROTOTYPE
{
HAL_UART_Transmit(&hlpuart1, (uint8_t *)&ch, 1, 0xFFFF);
return ch;
}
/* USER CODE END 4 */

void Error_Handler(void)
{
  __disable_irq();
  while (1)
  {
  }
}
